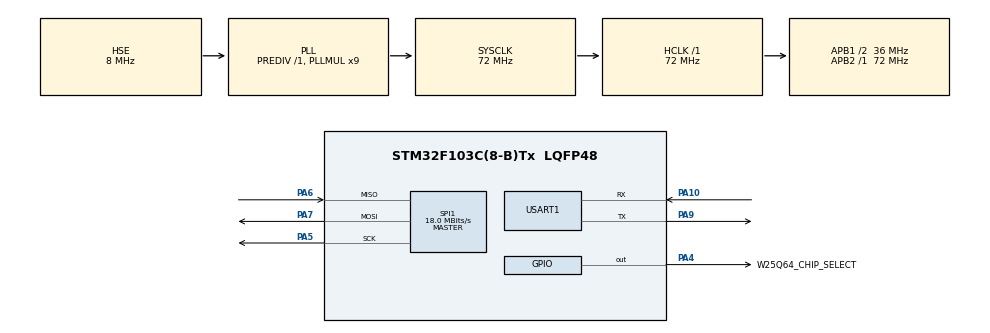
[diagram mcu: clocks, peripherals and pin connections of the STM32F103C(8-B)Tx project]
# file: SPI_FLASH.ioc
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Mcu.Family=STM32F1
Mcu.Name=STM32F103C(8-B)Tx
Mcu.Package=LQFP48
NVIC.PriorityGroup=NVIC_PRIORITYGROUP_4
NVIC.USART1_IRQn=true\:0\:0\:false\:false\:true\:true\:true\:true
PA10.Mode=Asynchronous
PA10.Signal=USART1_RX
PA13.Mode=Serial_Wire
PA13.Signal=SYS_JTMS-SWDIO
PA14.Mode=Serial_Wire
PA14.Signal=SYS_JTCK-SWCLK
PA4.GPIO_Label=W25Q64_CHIP_SELECT
PA4.PinState=GPIO_PIN_SET
PA4.Signal=GPIO_Output
PA5.Mode=Full_Duplex_Master
PA5.Signal=SPI1_SCK
PA6.Mode=Full_Duplex_Master
PA6.Signal=SPI1_MISO
PA7.Mode=Full_Duplex_Master
PA7.Signal=SPI1_MOSI
PA9.Mode=Asynchronous
PA9.Signal=USART1_TX
PD0-OSC_IN.Mode=HSE-External-Oscillator
PD0-OSC_IN.Signal=RCC_OSC_IN
PD1-OSC_OUT.Mode=HSE-External-Oscillator
PD1-OSC_OUT.Signal=RCC_OSC_OUT
ProjectManager.HeapSize=0x200
ProjectManager.StackSize=0x400
ProjectManager.TargetToolchain=MDK-ARM V5.32
RCC.AHBFreq_Value=72000000
RCC.APB1CLKDivider=RCC_HCLK_DIV2
RCC.APB1Freq_Value=36000000
RCC.APB1TimFreq_Value=72000000
RCC.APB2Freq_Value=72000000
RCC.APB2TimFreq_Value=72000000
RCC.HCLKFreq_Value=72000000
RCC.PLLMUL=RCC_PLL_MUL9
RCC.PLLSourceVirtual=RCC_PLLSOURCE_HSE
RCC.SYSCLKFreq_VALUE=72000000
RCC.SYSCLKSource=RCC_SYSCLKSOURCE_PLLCLK
RCC.USBFreq_Value=72000000
SPI1.BaudRatePrescaler=SPI_BAUDRATEPRESCALER_4
SPI1.CalculateBaudRate=18.0 MBits/s
SPI1.Direction=SPI_DIRECTION_2LINES
SPI1.Mode=SPI_MODE_MASTER
SPI1.VirtualType=VM_MASTER
USART1.VirtualMode=VM_ASYNC
board=custom

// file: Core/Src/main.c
/* USER CODE BEGIN Header */
/**
  ******************************************************************************
  * @file           : main.c
  * @brief          : Main program body
  ******************************************************************************
  * @attention
  *
  * Copyright (c) 2026 STMicroelectronics.
  * All rights reserved.
  *
  * This software is licensed under terms that can be found in the LICENSE file
  * in the root directory of this software component.
  * If no LICENSE file comes with this software, it is provided AS-IS.
  *
  ******************************************************************************
  */
/* USER CODE END Header */
#include "main.h"
#include "spi.h"
#include "usart.h"
#include "gpio.h"

/* USER CODE BEGIN Includes */

#include "stdio.h"
#include "W25Q64.h"

/* USER CODE END Includes */

/* USER CODE BEGIN PD */

#define BUFF_SIZE 20

/* USER CODE END PD */

/* USER CODE BEGIN PV */

uint16_t device_id;//芯片ID
uint8_t rx_buff[BUFF_SIZE];//读取缓冲区
uint8_t tx_buff[BUFF_SIZE];//写入缓冲区

/* USER CODE END PV */

void SystemClock_Config(void);

/* USER CODE BEGIN 0 */

/*重定向c库函数printf到串口USARTx，重定向后可使用printf函数*/
int fputc(int ch, FILE *f)
{
 HAL_UART_Transmit(&huart1, (uint8_t *)&ch, 1, 0xFFFF);
 return (ch);
}

/*显示十六进制数据*/
void ShowHex(uint8_t *buf,uint8_t len)
{
	uint8_t i;
	printf("hex = ");
	for( i = 0; i < len; i++)
	{
		printf(" %02X",buf[i]);
	}
	printf( "\r\n");
}

/* USER CODE END 0 */

int main(void)
{

  /* MCU Configuration--------------------------------------------------------*/

  /* Reset of all peripherals, Initializes the Flash interface and the Systick. */
  HAL_Init();

  /* Configure the system clock */
  SystemClock_Config();

  /* Initialize all configured peripherals */
  MX_GPIO_Init();
  MX_SPI1_Init();
  MX_USART1_UART_Init();
  /* USER CODE BEGIN 2 */

	W25QXX_Erase_Sector(0);//从0地址开始擦除一个扇区，填充0xFF
  printf("擦除扇区 ");
	printf("\r");

	W25QXX_Read(rx_buff, 0, BUFF_SIZE);//读取刚才擦除的扇区数据，由于刚才擦除过，所以数据全是0xFF
	printf("读取flash内数据 ");
	printf("\r");
	ShowHex(rx_buff,BUFF_SIZE);

	printf("开始写入数据 ");
	printf("\r");
	for(int i=0;i<BUFF_SIZE;i++)//准备写入的数据
	{
		tx_buff[i]=9;//可以改成其他数据进行测试
	}
	W25QXX_Page_Program(tx_buff,0,BUFF_SIZE);//从0地址开始写入数据
	ShowHex(tx_buff,BUFF_SIZE);//显示刚才写入的数据
	printf("数据写入完毕读取falsh内数据 ");
	printf("\r");
	W25QXX_Read(rx_buff, 0, BUFF_SIZE);//读取0地址开始的数据
	ShowHex(rx_buff,BUFF_SIZE);//显示读取到的数据

  /* USER CODE END 2 */

  /* Infinite loop */
  /* USER CODE BEGIN WHILE */
  while (1)
  {
		device_id = W25QXX_ReadID();//读取芯片ID
    printf("该厂家W25Q64芯片ID为 0x%04x\r\n",device_id);//读取芯片ID，应该是W25Q64的ID应该是0xEF17
    HAL_Delay(1000);
    /* USER CODE END WHILE */

  }
}

void SystemClock_Config(void)
{
  RCC_OscInitTypeDef RCC_OscInitStruct = {0};
  RCC_ClkInitTypeDef RCC_ClkInitStruct = {0};

  /** Initializes the RCC Oscillators according to the specified parameters
  * in the RCC_OscInitTypeDef structure.
  */
  RCC_OscInitStruct.OscillatorType = RCC_OSCILLATORTYPE_HSE;
  RCC_OscInitStruct.HSEState = RCC_HSE_ON;
  RCC_OscInitStruct.HSEPredivValue = RCC_HSE_PREDIV_DIV1;
  RCC_OscInitStruct.HSIState = RCC_HSI_ON;
  RCC_OscInitStruct.PLL.PLLState = RCC_PLL_ON;
  RCC_OscInitStruct.PLL.PLLSource = RCC_PLLSOURCE_HSE;
  RCC_OscInitStruct.PLL.PLLMUL = RCC_PLL_MUL9;
  if (HAL_RCC_OscConfig(&RCC_OscInitStruct) != HAL_OK)
  {
    Error_Handler();
  }

  /** Initializes the CPU, AHB and APB buses clocks
  */
  RCC_ClkInitStruct.ClockType = RCC_CLOCKTYPE_HCLK|RCC_CLOCKTYPE_SYSCLK
                              |RCC_CLOCKTYPE_PCLK1|RCC_CLOCKTYPE_PCLK2;
  RCC_ClkInitStruct.SYSCLKSource = RCC_SYSCLKSOURCE_PLLCLK;
  RCC_ClkInitStruct.AHBCLKDivider = RCC_SYSCLK_DIV1;
  RCC_ClkInitStruct.APB1CLKDivider = RCC_HCLK_DIV2;
  RCC_ClkInitStruct.APB2CLKDivider = RCC_HCLK_DIV1;

  if (HAL_RCC_ClockConfig(&RCC_ClkInitStruct, FLASH_LATENCY_2) != HAL_OK)
  {
    Error_Handler();
  }
}

void Error_Handler(void)
{
  __disable_irq();
  while (1)
  {
  }
}
